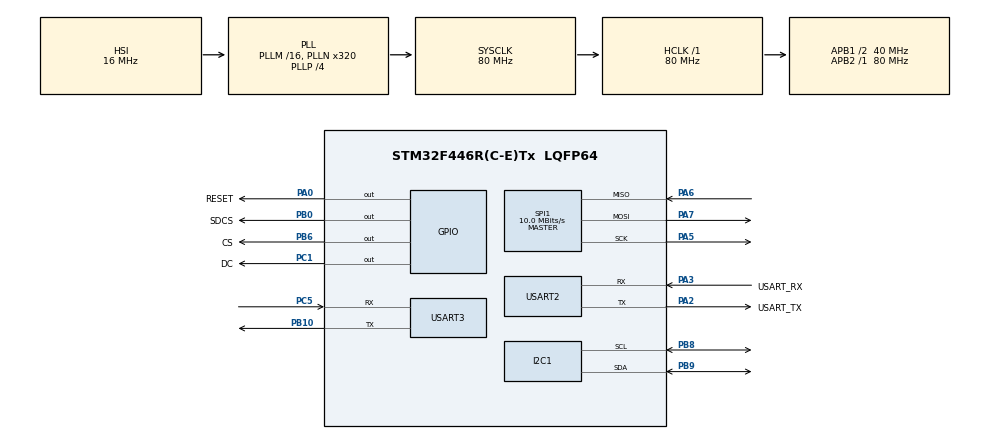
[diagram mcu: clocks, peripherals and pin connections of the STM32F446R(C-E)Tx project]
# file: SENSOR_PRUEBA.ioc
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FATFS._FS_NORTC=0
FATFS._MAX_SS=4096
FATFS._NORTC_MDAY=15
FATFS._NORTC_MON=11
FATFS._USE_LFN=1
Mcu.Family=STM32F4
Mcu.Name=STM32F446R(C-E)Tx
Mcu.Package=LQFP64
NVIC.PriorityGroup=NVIC_PRIORITYGROUP_0
NVIC.USART3_IRQn=true\:0\:0\:false\:false\:true\:true\:true\:true
PA0-WKUP.GPIO_Label=RESET
PA0-WKUP.Signal=GPIO_Output
PA13.GPIO_Label=TMS
PA13.Signal=SYS_JTMS-SWDIO
PA14.GPIO_Label=TCK
PA14.Signal=SYS_JTCK-SWCLK
PA2.GPIO_Label=USART_TX
PA2.Mode=Asynchronous
PA2.Signal=USART2_TX
PA3.GPIO_Label=USART_RX
PA3.Mode=Asynchronous
PA3.Signal=USART2_RX
PA5.Mode=Full_Duplex_Master
PA5.Signal=SPI1_SCK
PA6.GPIO_PuPd=GPIO_PULLUP
PA6.Mode=Full_Duplex_Master
PA6.Signal=SPI1_MISO
PA7.Mode=Full_Duplex_Master
PA7.Signal=SPI1_MOSI
PB0.GPIO_Label=SDCS
PB0.PinState=GPIO_PIN_SET
PB0.Signal=GPIO_Output
PB10.Mode=Asynchronous
PB10.Signal=USART3_TX
PB3.GPIO_Label=SWO
PB3.Signal=SYS_JTDO-SWO
PB6.GPIO_Label=CS
PB6.GPIO_Speed=GPIO_SPEED_FREQ_LOW
PB6.PinState=GPIO_PIN_SET
PB6.Signal=GPIO_Output
PB8.GPIO_Pu=GPIO_PULLUP
PB8.Mode=I2C
PB8.Signal=I2C1_SCL
PB9.GPIO_Pu=GPIO_PULLUP
PB9.Mode=I2C
PB9.Signal=I2C1_SDA
PC1.GPIO_Label=DC
PC1.Signal=GPIO_Output
PC14-OSC32_IN.Signal=RCC_OSC32_IN
PC15-OSC32_OUT.Signal=RCC_OSC32_OUT
PC5.Mode=Asynchronous
PC5.Signal=USART3_RX
PH0-OSC_IN.Signal=RCC_OSC_IN
PH1-OSC_OUT.Signal=RCC_OSC_OUT
ProjectManager.HeapSize=0x200
ProjectManager.StackSize=0x400
ProjectManager.TargetToolchain=STM32CubeIDE
RCC.AHBFreq_Value=80000000
RCC.APB1CLKDivider=RCC_HCLK_DIV2
RCC.APB1Freq_Value=40000000
RCC.APB1TimFreq_Value=80000000
RCC.APB2Freq_Value=80000000
RCC.APB2TimFreq_Value=80000000
RCC.CortexFreq_Value=80000000
RCC.FLatency-AdvancedSettings=FLASH_LATENCY_2
RCC.HCLKFreq_Value=80000000
RCC.HSE_VALUE=8000000
RCC.HSI_VALUE=16000000
RCC.LSE_VALUE=32768
RCC.PLLN=320
RCC.PLLP=RCC_PLLP_DIV4
RCC.SYSCLKFreq_VALUE=80000000
RCC.SYSCLKSource=RCC_SYSCLKSOURCE_PLLCLK
RCC.USBFreq_Value=160000000
RCC.VCOOutputFreq_Value=320000000
SPI1.BaudRatePrescaler=SPI_BAUDRATEPRESCALER_8
SPI1.CalculateBaudRate=10.0 MBits/s
SPI1.Direction=SPI_DIRECTION_2LINES
SPI1.Mode=SPI_MODE_MASTER
SPI1.VirtualType=VM_MASTER
USART2.VirtualMode=VM_ASYNC
USART3.VirtualMode=VM_ASYNC
VP_FATFS_VS_Generic.Mode=User_defined
board=NUCLEO-F446RE

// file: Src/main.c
/* USER CODE BEGIN Header */
/**
  ******************************************************************************
  * @file           : main.c
  * @brief          : Nucleo 2 independiente: APDS-9960, TFT y USART2
  ******************************************************************************
  * @attention
  *
  * Copyright (c) 2026 STMicroelectronics.
  * All rights reserved.
  *
  * This software is licensed under terms that can be found in the LICENSE file
  * in the root directory of this software component.
  * If no LICENSE file comes with this software, it is provided AS-IS.
  *
  ******************************************************************************
  */
/* USER CODE END Header */
#include "main.h"
#include "fatfs.h"

/* USER CODE BEGIN Includes */
#include <stdio.h>
#include <stdint.h>
#include <string.h>
#include <stdlib.h>
#include <stdarg.h>

#include "ili9341.h"
#include "lcd_pins.h"
#include "diskio.h"
#include "zelda.h"
#include "kirby.h"
#include "link.h"
#include "shadow.h"
#include "sonic.h"
#include "flechas.h"
#include "chimuelo.h"
/* USER CODE END Includes */

/* USER CODE BEGIN PTD */
typedef enum {
    G_NONE,
    G_UP,
    G_DOWN,
    G_LEFT,
    G_RIGHT
} Gesture;
typedef enum {
    APDS_IDLE,
    APDS_WAIT,
    APDS_DONE,
    APDS_TIMEOUT,
    APDS_UNCLEAR,
    APDS_OVERFLOW,
    APDS_IO_ERROR
} ApdsResult;
typedef struct {
    I2C_HandleTypeDef *bus;
    int32_t ud_delta;
    int32_t lr_delta;
    int16_t first_ud, first_lr;
    int16_t last_ud, last_lr;
    int32_t peak_ud, peak_lr;
    int32_t peak_strength;
    uint16_t saturated_count;
    uint8_t confirmations;
    Gesture candidate;
    uint16_t valid_count;
    uint32_t started;
    uint32_t last_data;
    uint32_t last_service;
    uint8_t batch[32][4];
    uint8_t batch_count;
    uint8_t active;
    uint8_t ready;
    uint8_t saw_data;
    Gesture gesture;
} Apds9960;
/* USER CODE END PTD */

/* USER CODE BEGIN PD */
#define N1_RX_TAM 32u
#define APDS_ADDR               ((uint16_t)(0x39u << 1))
#define APDS_TIMEOUT_MS         3000u
#define APDS_FIFO_PERIOD_MS     30u
#define APDS_THRESHOLD_OUT      10u
#define APDS_SENSITIVITY        35
#define APDS_FLIP_UD            0
#define APDS_FLIP_LR            0
#define APDS_REG_ENABLE         0x80u
#define APDS_REG_GCONF4         0xABu
#define APDS_REG_GFLVL          0xAEu
#define APDS_REG_GSTATUS        0xAFu
#define APDS_REG_FIFO           0xFCu
#define DIR_NONE                G_NONE
#define DIR_UP                  G_UP
#define DIR_DOWN                G_DOWN
#define DIR_LEFT                G_LEFT
#define DIR_RIGHT               G_RIGHT
#define FONDO  0x0842u
#define PANEL  0x10A4u
#define BLANCO 0xFFFFu
#define CELESTE 0x07FFu
#define VERDE  0x07E0u
#define ROJO   0xF800u
#define BORDE  0x21CEu

/* USER CODE END PD */

I2C_HandleTypeDef hi2c1;

SPI_HandleTypeDef hspi1;

UART_HandleTypeDef huart2;
UART_HandleTypeDef huart3;

/* USER CODE BEGIN PV */
static uint8_t n1Byte;
static volatile uint8_t n1Cola[N1_RX_TAM];
static volatile uint8_t n1Entrada, n1Salida, n1Error;
static volatile uint32_t n1BytesRX;
static uint32_t n1Ordenes, n1TramasTX;
static FATFS sistemaSD;
static FIL archivoSD;

static Apds9960 sensor;
static uint8_t midiendo;
static Gesture direccionEsperada;
static uint32_t inicioEstimulo;
static uint32_t semilla = 0xA341316Cu;
static struct {
    Gesture esperado, realizado;
    uint32_t tiempo;
    int32_t ud, lr;
    uint16_t muestras, saturadas;
    uint8_t correcto, valido, guardado;
} ultimoResultado;
/* USER CODE END PV */

void SystemClock_Config(void);
static void MX_GPIO_Init(void);
static void MX_I2C1_Init(void);
static void MX_USART2_UART_Init(void);
static void MX_SPI1_Init(void);
static void MX_USART3_UART_Init(void);
/* USER CODE BEGIN PFP */
static void Imprimir(const char *formato, ...);
static uint8_t DiagnosticarSensor(void);
static void EscanearBus(void);
static void IniciarPrueba(void);
static void TareaSensor(void);
static void RecibirHercules(void);
static Gesture SortearDireccion(void);
static void PantallaInicio(void);
static void PantallaEstimulo(Gesture direccion);
static void PantallaResultado(Gesture esperado, Gesture realizado, uint32_t tiempo);
static void PantallaError(const char *detalle);
static void N1_Enviar(const char *formato, ...);
static void N1_Tarea(void);
static void N1_Resultado(void);
static void DiagnosticarEnlace(void);
static FRESULT SD_Montar(void);
static void SD_MostrarError(FRESULT r);
static void SD_Probar(void);
static void SD_Verificar(void);
static FRESULT GuardarSD(void);
/* USER CODE END PFP */

/* USER CODE BEGIN 0 */
static HAL_StatusTypeDef read_bytes(
    Apds9960 *d,
    uint8_t reg,
    uint8_t *datos,
    uint16_t cantidad)
{
    HAL_StatusTypeDef r = HAL_I2C_Mem_Read(
        d->bus,
        APDS_ADDR,
        reg,
        I2C_MEMADD_SIZE_8BIT,
        datos,
        cantidad,
        40
    );
    if (r != HAL_OK)
        Imprimir("ERROR READ reg=0x%02X HAL=%d ERR=0x%08lX\r\n",
                 reg, (int)r, (unsigned long)HAL_I2C_GetError(d->bus));
    return r;
}
static HAL_StatusTypeDef write_reg(
    Apds9960 *d,
    uint8_t reg,
    uint8_t valor)
{
    HAL_StatusTypeDef r = HAL_I2C_Mem_Write(
        d->bus,
        APDS_ADDR,
        reg,
        I2C_MEMADD_SIZE_8BIT,
        &valor,
        1,
        40
    );
    if (r != HAL_OK)
        Imprimir("ERROR WRITE reg=0x%02X valor=0x%02X HAL=%d ERR=0x%08lX\r\n",
                 reg, valor, (int)r, (unsigned long)HAL_I2C_GetError(d->bus));
    return r;
}
HAL_StatusTypeDef APDS_ReadID(Apds9960 *d, uint8_t *id)
{
    return read_bytes(d, 0x92u, id, 1);
}
HAL_StatusTypeDef APDS_Stop(Apds9960 *d)
{
    d->active = 0;
    HAL_StatusTypeDef a =
        write_reg(d, APDS_REG_GCONF4, 0);
    HAL_StatusTypeDef b =
        write_reg(d, APDS_REG_ENABLE, 0x01u);
    if (a != HAL_OK || b != HAL_OK) {
        d->ready = 0;
        return HAL_ERROR;
    }
    return HAL_OK;
}
HAL_StatusTypeDef APDS_Init(
    Apds9960 *d,
    I2C_HandleTypeDef *bus)
{
    memset(d, 0, sizeof(*d));
    d->bus = bus;
    uint8_t id;
    if (APDS_ReadID(d, &id) != HAL_OK)
        return HAL_ERROR;
    if (id != 0xABu && id != 0x9Cu)
        return HAL_ERROR;
    static const uint8_t ajustes[][2] = {
        {APDS_REG_ENABLE, 0},
        {0x81, 219},
        {0x83, 0xFF},
        {0x8E, 0x89},
        {0x9D, 0},
        {0x9E, 0},
        {0x8D, 0x60},
        {0x8F, 0x09},
        {0x90, 0x31},
        {0x9F, 0},
        {0xA0, 40},
        {0xA1, 30},
        {0xA2, 0x40},
        {0xA3, 0x41},
        {0xA4, 0},
        {0xA5, 0},
        {0xA7, 0},
        {0xA9, 0},
        {0xA6, 0xC9},
        {0xAA, 0},
        {APDS_REG_GCONF4, 0},
        {APDS_REG_ENABLE, 1}
    };
    for (unsigned i = 0;
         i < sizeof(ajustes) / sizeof(ajustes[0]);
         i++) {
        if (write_reg(
                d,
                ajustes[i][0],
                ajustes[i][1]) != HAL_OK) {
            (void)APDS_Stop(d);
            return HAL_ERROR;
        }
    }
    HAL_Delay(3);
    d->ready = 1;
    return HAL_OK;
}
HAL_StatusTypeDef APDS_Start(Apds9960 *d)
{
    if (!d->ready || d->active)
        return HAL_ERROR;
    if (APDS_Stop(d) != HAL_OK ||
        write_reg(d, APDS_REG_ENABLE, 0) != HAL_OK)
        return HAL_ERROR;
    HAL_Delay(3);
    /* Limpiar FIFO y datos anteriores. */
    if (write_reg(d, APDS_REG_GCONF4, 0x04u) != HAL_OK ||
        write_reg(d, APDS_REG_GCONF4, 0) != HAL_OK)
        return HAL_ERROR;
    d->peak_ud = d->peak_lr = 0;
    d->peak_strength = 0;
    d->saturated_count = 0;
    d->confirmations = 0;
    d->candidate = DIR_NONE;
    d->ud_delta = 0;
    d->lr_delta = 0;
    d->first_ud = d->first_lr = 0;
    d->last_ud = d->last_lr = 0;
    d->valid_count = 0;
    d->batch_count = 0;
    d->gesture = DIR_NONE;
    d->saw_data = 0;
    if (write_reg(d, APDS_REG_ENABLE, 1) != HAL_OK)
        return HAL_ERROR;
    HAL_Delay(3);
    /*
     * GIEN = 0: no requiere interrupcion INT.
     * GMODE = 1.
     * ENABLE: PON + WEN + PEN + GEN.
     */
    if (write_reg(d, APDS_REG_GCONF4, 0x01u) != HAL_OK ||
        write_reg(d, APDS_REG_ENABLE, 0x4Du) != HAL_OK) {
        (void)APDS_Stop(d);
        return HAL_ERROR;
    }
    d->started = HAL_GetTick();
    d->last_data = d->started;
    d->last_service =
        d->started - APDS_FIFO_PERIOD_MS;
    d->active = 1;
    return HAL_OK;
}
static int valid_sample(const uint8_t muestra[4])
{
    return muestra[0] > APDS_THRESHOLD_OUT &&
           muestra[1] > APDS_THRESHOLD_OUT &&
           muestra[2] > APDS_THRESHOLD_OUT &&
           muestra[3] > APDS_THRESHOLD_OUT;
}
/* La direccion requiere un eje dominante y dos muestras consecutivas. */
static Gesture classify_delta(int32_t ud, int32_t lr)
{
    if (APDS_FLIP_UD) ud = -ud;
    if (APDS_FLIP_LR) lr = -lr;

    int32_t au = labs(ud);
    int32_t al = labs(lr);

    if (au >= APDS_SENSITIVITY && au * 4 > al * 5)
        return ud > 0 ? DIR_DOWN : DIR_UP;

    if (al >= APDS_SENSITIVITY && al * 4 > au * 5)
        return lr > 0 ? DIR_RIGHT : DIR_LEFT;

    return DIR_NONE;
}

static void process_batch(Apds9960 *d)
{
    static uint32_t ultimoReporte;
    for (unsigned i = 0; i < d->batch_count; i++)
    {
        const uint8_t *m = d->batch[i];
        if (!valid_sample(m))
        {
            d->candidate = DIR_NONE;
            d->confirmations = 0;
            continue;
        }

        /* Una muestra recortada no permite comparar bien los canales. */
        if (m[0] == 255u || m[1] == 255u ||
            m[2] == 255u || m[3] == 255u)
        {
            if (d->saturated_count < 65535u) d->saturated_count++;
            d->confirmations = 0;
            d->candidate = DIR_NONE;
            continue;
        }

        int ud = 100 * ((int)m[0] - (int)m[1]) /
                       ((int)m[0] + (int)m[1]);
        int lr = 100 * ((int)m[2] - (int)m[3]) /
                       ((int)m[2] + (int)m[3]);
        if (d->valid_count == 0)
        {
            d->first_ud = (int16_t)ud;
            d->first_lr = (int16_t)lr;
        }
        d->last_ud = (int16_t)ud;
        d->last_lr = (int16_t)lr;
        if (d->valid_count < 65535u) d->valid_count++;
        d->ud_delta = (int32_t)d->last_ud - d->first_ud;
        d->lr_delta = (int32_t)d->last_lr - d->first_lr;

        Gesture g = classify_delta(d->ud_delta, d->lr_delta);
        if (g == DIR_NONE)
        {
            d->candidate = DIR_NONE;
            d->confirmations = 0;
            continue;
        }
        if (g == d->candidate)
        {
            if (d->confirmations < 255u) d->confirmations++;
        }
        else
        {
            d->candidate = g;
            d->confirmations = 1;
        }

        int32_t strength = labs(d->ud_delta);
        if (labs(d->lr_delta) > strength) strength = labs(d->lr_delta);
        if (d->confirmations >= 2u && strength > d->peak_strength)
        {
            d->peak_strength = strength;
            d->peak_ud = d->ud_delta;
            d->peak_lr = d->lr_delta;
        }
    }

    uint32_t ahora = HAL_GetTick();
    if (d->batch_count && (uint32_t)(ahora - ultimoReporte) >= 150u)
    {
        const uint8_t *m = d->batch[d->batch_count - 1u];
        Imprimir("RAW U=%u D=%u L=%u R=%u | UD=%ld LR=%ld N=%u SAT=%u\r\n",
                 (unsigned)m[0], (unsigned)m[1],
                 (unsigned)m[2], (unsigned)m[3],
                 (long)d->ud_delta, (long)d->lr_delta,
                 (unsigned)d->valid_count, (unsigned)d->saturated_count);
        ultimoReporte = ahora;
    }
    d->batch_count = 0;
}

static Gesture decode_gesture(const Apds9960 *d)
{
    if (d->valid_count < 5u || !d->peak_strength) return DIR_NONE;
    return classify_delta(d->peak_ud, d->peak_lr);
}

static ApdsResult finish(
    Apds9960 *d,
    ApdsResult resultado)
{
    return APDS_Stop(d) == HAL_OK
           ? resultado
           : APDS_IO_ERROR;
}
ApdsResult APDS_Poll(Apds9960 *d)
{
    if (!d->active)
        return APDS_IDLE;
    uint32_t ahora = HAL_GetTick();
    if ((uint32_t)(ahora - d->started) >= APDS_TIMEOUT_MS)
    {
        d->ud_delta = (int32_t)d->last_ud - d->first_ud;
        d->lr_delta = (int32_t)d->last_lr - d->first_lr;

        Imprimir("CIERRE POR TIEMPO: UD %d->%d, LR %d->%d\r\n",
                 (int)d->first_ud, (int)d->last_ud,
                 (int)d->first_lr, (int)d->last_lr);

        if (d->valid_count < 5u)
            return finish(d, APDS_TIMEOUT);

        /* Aunque no haya salido del modo de gestos, evaluar lo recibido. */
        d->gesture = decode_gesture(d);
        return finish(d, d->gesture == DIR_NONE
                         ? APDS_UNCLEAR : APDS_DONE);
    }
    if ((uint32_t)(ahora - d->last_service) <
        APDS_FIFO_PERIOD_MS)
        return APDS_WAIT;
    d->last_service = ahora;
    uint8_t estado;
    uint8_t nivel;
    uint8_t modo;
    uint8_t datos[128];
    if (read_bytes(
            d, APDS_REG_GSTATUS, &estado, 1) != HAL_OK ||
        read_bytes(
            d, APDS_REG_GFLVL, &nivel, 1) != HAL_OK) {
        return finish(d, APDS_IO_ERROR);
    }
    if ((estado & 0x02u) || nivel > 32u)
        return finish(d, APDS_OVERFLOW);
    if (nivel) {
        if (read_bytes(
                d,
                APDS_REG_FIFO,
                datos,
                (uint16_t)(nivel * 4u)) != HAL_OK) {
            return finish(d, APDS_IO_ERROR);
        }
        for (unsigned i = 0; i < nivel; i++) {
            memcpy(
                d->batch[d->batch_count++],
                &datos[i * 4u],
                4
            );
            if (d->batch_count == 32u)
                process_batch(d);
        }
        process_batch(d);
        d->saw_data = 1;
        d->last_data = HAL_GetTick();

        /* Terminar en cuanto el algoritmo confirme una direccion. */
        Gesture detectado = decode_gesture(d);

        if (detectado != DIR_NONE)
        {
            d->gesture = detectado;
            return finish(d, APDS_DONE);
        }
    }
    if (read_bytes(
            d, APDS_REG_GCONF4, &modo, 1) != HAL_OK)
        return finish(d, APDS_IO_ERROR);
    ahora = HAL_GetTick();
    if (!nivel &&
        decode_gesture(d) != DIR_NONE &&
        d->saw_data &&
        !(estado & 1u) &&
        !(modo & 1u) &&
        (uint32_t)(ahora - d->last_data) >=
            APDS_FIFO_PERIOD_MS) {
        d->ud_delta = (int32_t)d->last_ud - d->first_ud;
        d->lr_delta = (int32_t)d->last_lr - d->first_lr;
        d->gesture = decode_gesture(d);
        return finish(
            d,
            d->gesture == DIR_NONE
                ? APDS_UNCLEAR
                : APDS_DONE
        );
    }
    return APDS_WAIT;
}
const char *Gesture_Name(Gesture gesto)
{
    switch (gesto) {
    case DIR_UP:
        return "ARRIBA";
    case DIR_DOWN:
        return "ABAJO";
    case DIR_LEFT:
        return "IZQUIERDA";
    case DIR_RIGHT:
        return "DERECHA";
    default:
        return "SIN DATOS";
    }
}

/* Graficos de la TFT. Las imagenes permanecen en sus archivos .h. */
static void Centrar(const char *texto, int y, int fuente,
                    uint16_t color, uint16_t fondo)
{
    int ancho = fuente == 1 ? 8 : 16;
    int x = (320 - (int)strlen(texto) * ancho) / 2;
    if (x < 0) x = 0;
    LCD_Print((char *)texto, x, y, fuente, color, fondo);
}

static void Cabecera(const char *texto, uint16_t color)
{
    LCD_Clear(FONDO);
    FillRect(0, 0, 320, 34, color);
    Centrar(texto, 10, 2, BLANCO, color);
}

static void Pie(const char *texto)
{
    FillRect(0, 220, 320, 20, FONDO);
    Centrar(texto, 224, 1, BLANCO, FONDO);
}

static void DibujarPersonaje(Gesture g, uint16_t centro, uint16_t y)
{
    const uint16_t *imagen;
    uint16_t w, h, transparente;
    switch (g)
    {
    case G_UP:
        imagen = link; w = link_width; h = link_height;
        transparente = LINK_TRANSPARENTE;
        break;
    case G_DOWN:
        imagen = sonic; w = sonic_width; h = sonic_height;
        transparente = SONIC_TRANSPARENTE;
        break;
    case G_LEFT:
        imagen = shadow; w = shadow_width; h = shadow_height;
        transparente = SHADOW_TRANSPARENTE;
        break;
    case G_RIGHT:
        imagen = kirby; w = kirby_width; h = kirby_height;
        transparente = KIRBY_TRANSPARENTE;
        break;
    default:
        return;
    }
    LCD_BitmapTransparent(centro - w / 2u, y, w, h, imagen, transparente);
}

static void DibujarFlecha(Gesture g, uint16_t x, uint16_t y,
                          uint16_t color)
{
    const uint16_t *imagen;
    switch (g)
    {
    case G_UP:    imagen = imagen_ARRIBA; break;
    case G_DOWN:  imagen = imagen_ABAJO; break;
    case G_LEFT:  imagen = imagen_IZQUIERDA; break;
    case G_RIGHT: imagen = imagen_DERECHA; break;
    default: return;
    }

    /* Ampliacion de 48x48 a 96x96 con transparencia. */
    uint16_t fila[96];
    for (unsigned fy = 0; fy < 48u; fy++)
    {
        for (unsigned fx = 0; fx < 48u; fx++)
        {
            uint16_t pixel = imagen[fy * 48u + fx];
            if (pixel != FLECHA_TRANSPARENTE) pixel = color;
            fila[fx * 2u] = pixel;
            fila[fx * 2u + 1u] = pixel;
        }
        for (unsigned k = 0; k < 2u; k++)
        {
            LCD_BitmapTransparent(x, y + fy * 2u + k, 96, 1,
                                  fila, FLECHA_TRANSPARENTE);
        }
    }
}

static void PantallaInicio(void)
{
    LCD_Bitmap(0, 0, zelda_width, zelda_height, zelda);
    Centrar("ESPERANDO DATOS", 10, 2, BLANCO, FONDO);
    Pie("ESPERANDO ORDEN DE NUCLEO 1");
}

static void PantallaEstimulo(Gesture direccion)
{
    Cabecera("SIGUE LA DIRECCION", 0x0193u);
    FillRect(12, 42, 296, 165, PANEL);
    Rect(12, 42, 296, 165, BORDE);

    if (direccion == G_RIGHT)
    {
        /* Kirby ya contiene su flecha. */
        DibujarPersonaje(direccion, 160, 51);
    }
    else
    {
        DibujarPersonaje(direccion, 84, 51);
        DibujarFlecha(direccion, 188, 63, CELESTE);
    }
    Centrar(Gesture_Name(direccion), 186, 1, CELESTE, PANEL);
    Pie("HAZ UN SOLO MOVIMIENTO");
}

static void PantallaResultado(Gesture esperado, Gesture realizado,
                              uint32_t tiempo)
{
    char texto[32];
    snprintf(texto, sizeof(texto), "%lu.%03lu S",
             (unsigned long)(tiempo / 1000u),
             (unsigned long)(tiempo % 1000u));

    if (realizado == G_NONE)
    {
        const uint16_t claro = 0xDFFFu;
        Cabecera("SIN GESTO", 0xA800u);
        FillRect(0, 40, 320, 177, claro);
        Centrar("MOVIMIENTO NO RECONOCIDO", 43, 1, 0x0000u, claro);
        LCD_BitmapTransparent(40, 63, chimuelo_width, chimuelo_height,
                              chimuelo, CHIMUELO_TRANSPARENTE);
        Centrar(texto, 201, 1, 0x0000u, claro);
    }
    else
    {
        uint8_t correcto = esperado == realizado;
        uint16_t color = correcto ? VERDE : ROJO;
        Cabecera(correcto ? "CORRECTO" : "INCORRECTO",
                  correcto ? 0x03A0u : 0xA800u);
        FillRect(12, 42, 136, 174, PANEL);
        Rect(12, 42, 136, 174, BORDE);
        DibujarPersonaje(esperado, 80, 51);
        LCD_Print((char *)Gesture_Name(esperado),
                  80 - (int)strlen(Gesture_Name(esperado)) * 4,
                  190, 1, CELESTE, PANEL);
        LCD_Print("TIEMPO DE RESPUESTA", 160, 46, 1, BLANCO, FONDO);
        LCD_Print(texto, 166, 66, 2, color, FONDO);
        LCD_Print("SOLICITADO", 166, 106, 1, BLANCO, FONDO);
        LCD_Print((char *)Gesture_Name(esperado), 166, 124, 1, CELESTE, FONDO);
        LCD_Print("REALIZADO", 166, 156, 1, BLANCO, FONDO);
        LCD_Print((char *)Gesture_Name(realizado), 166, 174, 1, color, FONDO);
    }
    Pie("ESPERANDO ORDEN DE NUCLEO 1");
}

static void PantallaError(const char *detalle)
{
    Cabecera("ERROR SENSOR", 0xA800u);
    Centrar(detalle, 90, 1, BLANCO, FONDO);
    Centrar("REVISA SENSOR Y CONEXIONES", 120, 1, CELESTE, FONDO);
    Pie("REINTENTA DESDE NUCLEO 1");
}

static Gesture SortearDireccion(void)
{
    semilla ^= HAL_GetTick();
    if (!semilla) semilla = 0xA341316Cu;
    semilla ^= semilla << 13;
    semilla ^= semilla >> 17;
    semilla ^= semilla << 5;
    return (Gesture)(G_UP + (semilla & 3u));
}

static void N1_Enviar(const char *formato, ...)
{
    char trama[160];
    va_list args;
    va_start(args, formato);
    int n = vsnprintf(trama, sizeof(trama), formato, args);
    va_end(args);
    if (n <= 0 || n >= (int)sizeof(trama)) {
        Imprimir("ERROR: trama UART3 demasiado larga.\r\n");
        return;
    }
    if (HAL_UART_Transmit(&huart3, (uint8_t *)trama,
                          (uint16_t)n, 250) != HAL_OK) {
        Imprimir("ERROR TX UART3 hacia Nucleo 1.\r\n");
        return;
    }
    n1TramasTX++;
    if (trama[n - 1] == '\n') trama[n - 1] = 0;
    Imprimir("N2 -> N1: %s\r\n", trama);
}

static void N1_Resultado(void)
{
    N1_Enviar("@RESULT,%u,%ld,%ld,%lu,%s,%s,%u\n",
              (unsigned)ultimoResultado.muestras,
              (long)ultimoResultado.ud,
              (long)ultimoResultado.lr,
              (unsigned long)ultimoResultado.tiempo,
              Gesture_Name(ultimoResultado.esperado),
              ultimoResultado.realizado == G_NONE ? "NO_RECONOCIDO"
                  : Gesture_Name(ultimoResultado.realizado),
              (unsigned)ultimoResultado.correcto);
}

static void N1_Tarea(void)
{
    if (n1Error)
    {
        (void)HAL_UART_AbortReceive(&huart3);
        __HAL_UART_CLEAR_OREFLAG(&huart3);
        n1Entrada = n1Salida = 0;
        n1Error = 0;
        if (HAL_UART_Receive_IT(&huart3, &n1Byte, 1) != HAL_OK)
            n1Error = 1;
        Imprimir("ERROR RX USART3: reenvia la orden desde Nucleo 1.\r\n");
        N1_Enviar("@ERROR,UART_RX\n");
        return;
    }

    if (n1Salida == n1Entrada) return;
    uint8_t dato = n1Cola[n1Salida];
    n1Salida = (uint8_t)((n1Salida + 1u) % N1_RX_TAM);
    if (dato == '\r' || dato == '\n' || dato == ' ' || dato == '\t') return;

    Imprimir("N1 -> N2: %c recibido.\r\n", dato);
    if (dato == 'L' || dato == 'l' || dato == 'G' || dato == 'g') {
        n1Ordenes++;
        Imprimir("ENLACE RX CONFIRMADO: orden recibida desde Nucleo 1.\r\n");
    }
    if (midiendo)
    {
        N1_Enviar("@BUSY\n");
        return;
    }

    switch (dato) {
    case 'L':
    case 'l':
        IniciarPrueba();
        break;
    case 'G':
    case 'g':
        if (!ultimoResultado.valido) {
            Pie("SIN MEDICION PARA GUARDAR");
            N1_Enviar("@SAVE,NO_DATA\n");
        } else {
            FRESULT r = GuardarSD();
            if (r == FR_OK) N1_Enviar("@SAVE,OK\n");
            else N1_Enviar("@ERROR,SD_FATFS_%u\n", (unsigned)r);
        }
        break;
    default:
        N1_Enviar("@ERROR,COMANDO\n");
        break;
    }
}

static void DiagnosticarEnlace(void)
{
    uint32_t modoTX = (GPIOB->MODER >> 20u) & 3u;
    uint32_t afTX = (GPIOB->AFR[1] >> 8u) & 15u;
    uint32_t modoRX = (GPIOC->MODER >> 10u) & 3u;
    uint32_t afRX = (GPIOC->AFR[0] >> 20u) & 15u;
    uint32_t irq = NVIC_GetEnableIRQ(USART3_IRQn);
    Imprimir("\r\n--- DIAGNOSTICO ENLACE NUCLEO 1 ---\r\n");
    Imprimir("USART3: PB10=TX, PC5=RX, 115200 8N1.\r\n");
    Imprimir("GPIO TX PB10: modo=%lu AF=%lu | RX PC5: modo=%lu AF=%lu\r\n",
             (unsigned long)modoTX, (unsigned long)afTX,
             (unsigned long)modoRX, (unsigned long)afRX);
    Imprimir("NVIC USART3=%lu | RX armada=%u\r\n",
             (unsigned long)irq,
             (unsigned)(huart3.RxState == HAL_UART_STATE_BUSY_RX));
    Imprimir("RX bytes=%lu | Ordenes L/G=%lu | TX tramas=%lu\r\n",
             (unsigned long)n1BytesRX, (unsigned long)n1Ordenes,
             (unsigned long)n1TramasTX);
    if (modoTX != 2u || afTX != 7u || modoRX != 2u || afRX != 7u || !irq)
        Imprimir("ERROR CONFIG: genera MX con USART3 PB10/PC5 AF7 e interrupcion habilitada.\r\n");
    else
        Imprimir("CONFIG USART3 OK: pines AF7 e interrupcion habilitada.\r\n");
    if (!n1Ordenes)
        Imprimir("Sin ordenes recibidas aun. Envia L desde Bluetooth hacia Nucleo 1.\r\n");
    else
        Imprimir("RX CONFIRMADO: Nucleo 2 recibio ordenes de Nucleo 1.\r\n");
    Imprimir("TX OK confirma salida del STM32; el programa de Nucleo 1 no devuelve ACK.\r\n");
}

static void Imprimir(const char *formato, ...)
{
    char texto[192];
    va_list argumentos;
    va_start(argumentos, formato);
    int n = vsnprintf(texto, sizeof(texto), formato, argumentos);
    va_end(argumentos);
    if (n <= 0) return;
    if (n >= (int)sizeof(texto)) n = sizeof(texto) - 1;
    (void)HAL_UART_Transmit(&huart2, (uint8_t *)texto, (uint16_t)n, 250);
}

static uint8_t DiagnosticarSensor(void)
{
    Imprimir("\r\n--- DIAGNOSTICO APDS-9960 ---\r\n");
    Imprimir("SCL(PB8)=%u SDA(PB9)=%u\r\n",
             (unsigned)HAL_GPIO_ReadPin(GPIOB, GPIO_PIN_8),
             (unsigned)HAL_GPIO_ReadPin(GPIOB, GPIO_PIN_9));

    HAL_StatusTypeDef r = HAL_I2C_IsDeviceReady(&hi2c1, APDS_ADDR, 3, 100);
    uint32_t error = HAL_I2C_GetError(&hi2c1);
    Imprimir("READY 0x39: HAL=%d ERR=0x%08lX\r\n", (int)r, (unsigned long)error);
    if (r != HAL_OK) {
        Imprimir("FALLO: no se confirmo respuesta en 0x39.\r\n");
        return 0;
    }

    sensor.bus = &hi2c1;
    uint8_t id = 0;
    r = APDS_ReadID(&sensor, &id);
    error = HAL_I2C_GetError(&hi2c1);
    Imprimir("ID registro 0x92: HAL=%d ID=0x%02X ERR=0x%08lX\r\n",
             (int)r, (unsigned)id, (unsigned long)error);
    if (r != HAL_OK) return 0;
    if (id != 0xABu && id != 0x9Cu) {
        Imprimir("Hay respuesta I2C, pero el ID no es uno de los aceptados.\r\n");
        return 0;
    }
    Imprimir("OK: comunicacion I2C e identificador reconocidos.\r\n");
    return 1;
}

static void EscanearBus(void)
{
    if (!HAL_GPIO_ReadPin(GPIOB, GPIO_PIN_8) ||
        !HAL_GPIO_ReadPin(GPIOB, GPIO_PIN_9)) {
        Imprimir("No escaneo: SCL o SDA esta baja en reposo. Revisa el bus.\r\n");
        return;
    }
    Imprimir("\r\nEscaneando direcciones I2C de 0x08 a 0x77...\r\n");
    unsigned encontrados = 0;
    for (uint16_t direccion = 0x08; direccion <= 0x77; direccion++) {
        HAL_StatusTypeDef r = HAL_I2C_IsDeviceReady(&hi2c1, direccion << 1, 1, 10);
        uint32_t error = HAL_I2C_GetError(&hi2c1);
        if (r == HAL_OK) {
            Imprimir("Responde: 0x%02X%s\r\n", (unsigned)direccion,
                     direccion == 0x39 ? " (direccion del APDS-9960)" : "");
            encontrados++;
        } else if (r == HAL_BUSY || r == HAL_TIMEOUT ||
                   (error & HAL_I2C_ERROR_TIMEOUT)) {
            Imprimir("Escaneo detenido: HAL=%d ERR=0x%08lX\r\n",
                     (int)r, (unsigned long)error);
            return;
        }
    }
    Imprimir("Fin del escaneo. Dispositivos encontrados: %u\r\n", encontrados);
}

/* SD: acceso exclusivo desde el ciclo principal, nunca desde una ISR. */
static FRESULT SD_Montar(void)
{
    (void)f_mount(NULL, "0:", 0);
    DSTATUS antes = disk_status(0);
    DSTATUS inicio = disk_initialize(0);
    DSTATUS despues = disk_status(0);
    Imprimir("SD ESTADO: antes=0x%02X init=0x%02X despues=0x%02X\r\n",
             (unsigned)antes, (unsigned)inicio, (unsigned)despues);
    if (inicio & STA_NOINIT) return FR_NOT_READY;
    return f_mount(&sistemaSD, "0:", 1);
}

static void SD_MostrarError(FRESULT r)
{
    Pie("ERROR SD: REVISA HERCULES");
    Imprimir("ERROR SD FatFs=%u\r\n", (unsigned)r);
    if (r == FR_NOT_READY)
        Imprimir("La inicializacion SPI de la SD no termino. Revisa SDDBG CMD0/CMD8.\r\n");
    else if (r == FR_NO_FILESYSTEM)
        Imprimir("La tarjeta responde, pero no se encontro un sistema FAT valido.\r\n");
    else if (r == FR_DISK_ERR)
        Imprimir("Fallo de lectura, escritura o verificacion de la tarjeta.\r\n");
    Imprimir("No se confirmo guardado. El enlace y el sensor siguen disponibles.\r\n");
}

static void SD_Probar(void)
{
    Imprimir("\r\n--- PRUEBA SD: INICIO Y MONTAJE, SIN ESCRIBIR ---\r\n");
    FRESULT r = SD_Montar();
    if (r != FR_OK) { SD_MostrarError(r); return; }
    DWORD sectores = 0;
    if (disk_ioctl(0, GET_SECTOR_COUNT, &sectores) != RES_OK)
    {
        SD_MostrarError(FR_DISK_ERR);
        return;
    }
    Imprimir("SD OK: montaje FAT correcto; dispositivo de %lu MiB (%lu sectores).\r\n",
             (unsigned long)(sectores / 2048u), (unsigned long)sectores);
    Imprimir("No se escribio ningun archivo. V prueba escritura y lectura.\r\n");
    Pie("SD MONTADA - V PARA VERIFICAR");
}

static FRESULT SD_Escribir(const char *texto)
{
    UINT escritos = 0;
    UINT longitud = (UINT)strlen(texto);
    FRESULT r = f_write(&archivoSD, texto, longitud, &escritos);
    return r == FR_OK && escritos != longitud ? FR_DISK_ERR : r;
}

/* Solo intenta retirar los bytes agregados durante una operacion fallida. */
static void SD_RetirarParcial(DWORD tamAnterior)
{
    FRESULT r = f_lseek(&archivoSD, tamAnterior);
    if (r == FR_OK) r = f_truncate(&archivoSD);
    if (r != FR_OK)
        Imprimir("AVISO: no se pudo retirar una escritura parcial.\r\n");
}

static FRESULT GuardarSD(void)
{
    if (ultimoResultado.guardado)
    {
        Pie("DATOS YA GUARDADOS");
        Imprimir("SD: esta medicion ya se guardo; no se repite la fila.\r\n");
        return FR_OK;
    }

    Imprimir("SD: guardando medicion en 0:/GESTOS.CSV...\r\n");
    FRESULT r = SD_Montar();
    if (r != FR_OK) { SD_MostrarError(r); return r; }
    r = f_open(&archivoSD, "0:/GESTOS.CSV", FA_OPEN_ALWAYS | FA_WRITE);
    if (r != FR_OK) { SD_MostrarError(r); return r; }

    DWORD tamAnterior = (DWORD)f_size(&archivoSD);
    uint8_t intentoEscritura = 0;
    r = f_lseek(&archivoSD, tamAnterior);
    if (r == FR_OK && tamAnterior == 0u)
    {
        intentoEscritura = 1;
        r = SD_Escribir("solicitado,realizado,tiempo_ms,correcto,muestras,ud_pico,lr_pico,saturadas\r\n");
    }
    if (r == FR_OK)
    {
        char fila[160];
        int n = snprintf(fila, sizeof(fila), "%s,%s,%lu,%u,%u,%ld,%ld,%u\r\n",
                         Gesture_Name(ultimoResultado.esperado),
                         ultimoResultado.realizado == G_NONE ? "NO_RECONOCIDO"
                             : Gesture_Name(ultimoResultado.realizado),
                         (unsigned long)ultimoResultado.tiempo,
                         (unsigned)ultimoResultado.correcto,
                         (unsigned)ultimoResultado.muestras,
                         (long)ultimoResultado.ud, (long)ultimoResultado.lr,
                         (unsigned)ultimoResultado.saturadas);
        if (n < 0 || n >= (int)sizeof(fila)) r = FR_INVALID_PARAMETER;
        else { intentoEscritura = 1; r = SD_Escribir(fila); }
    }
    if (r != FR_OK && intentoEscritura) SD_RetirarParcial(tamAnterior);
    FRESULT cierre = f_close(&archivoSD);
    if (r == FR_OK) r = cierre;
    if (r != FR_OK)
    {
        if (cierre != FR_OK)
            Imprimir("Fallo al cerrar: el contenido escrito queda sin confirmar.\r\n");
        SD_MostrarError(r);
        return r;
    }

    ultimoResultado.guardado = 1;
    Pie("DATOS GUARDADOS");
    Imprimir("SD OK: DATOS GUARDADOS en GESTOS.CSV; cierre correcto.\r\n");
    return FR_OK;
}

static void SD_Verificar(void)
{
    Imprimir("\r\n--- PRUEBA SD: AGREGA Y RELEE UNA LINEA EN N2TEST.LOG ---\r\n");
    FRESULT r = SD_Montar();
    if (r != FR_OK) { SD_MostrarError(r); return; }

    char linea[64], leido[64];
    int n = snprintf(linea, sizeof(linea), "NUCLEO2,PRUEBA_SD,%lu\r\n",
                     (unsigned long)HAL_GetTick());
    if (n <= 0 || n >= (int)sizeof(linea))
    { SD_MostrarError(FR_INVALID_PARAMETER); return; }

    r = f_open(&archivoSD, "0:/N2TEST.LOG", FA_OPEN_ALWAYS | FA_WRITE);
    if (r != FR_OK) { SD_MostrarError(r); return; }
    DWORD posicion = (DWORD)f_size(&archivoSD);
    uint8_t intento = 0;
    r = f_lseek(&archivoSD, posicion);
    if (r == FR_OK) { intento = 1; r = SD_Escribir(linea); }
    if (r != FR_OK && intento) SD_RetirarParcial(posicion);
    FRESULT cierre = f_close(&archivoSD);
    if (r == FR_OK) r = cierre;
    if (r != FR_OK) { SD_MostrarError(r); return; }

    /* Remontar invalida la ventana de cache del sistema antes de releer. */
    r = SD_Montar();
    if (r != FR_OK) { SD_MostrarError(r); return; }
    r = f_open(&archivoSD, "0:/N2TEST.LOG", FA_READ);
    if (r != FR_OK) { SD_MostrarError(r); return; }
    r = f_lseek(&archivoSD, posicion);
    UINT cantidad = 0;
    if (r == FR_OK) r = f_read(&archivoSD, leido, (UINT)n, &cantidad);
    cierre = f_close(&archivoSD);
    if (r == FR_OK) r = cierre;
    if (r == FR_OK && (cantidad != (UINT)n || memcmp(linea, leido, (size_t)n)))
        r = FR_DISK_ERR;
    if (r != FR_OK) { SD_MostrarError(r); return; }

    Pie("SD ESCRITURA Y LECTURA OK");
    Imprimir("SD VERIFICADA: linea escrita, archivo cerrado y lectura identica.\r\n");
    Imprimir("Archivo: 0:/N2TEST.LOG. Esta prueba no guarda una medicion.\r\n");
}

static void IniciarPrueba(void)
{
    ultimoResultado.valido = 0;
    ultimoResultado.guardado = 0;
    if (!DiagnosticarSensor())
    {
        PantallaError("SIN RESPUESTA I2C");
        N1_Enviar("@ERROR,SENSOR\n");
        return;
    }
    if (APDS_Init(&sensor, &hi2c1) != HAL_OK)
    {
        Imprimir("FALLO: no se pudo configurar APDS-9960.\r\n");
        PantallaError("NO SE PUDO CONFIGURAR");
        N1_Enviar("@ERROR,SENSOR\n");
        return;
    }

    direccionEsperada = SortearDireccion();
    PantallaEstimulo(direccionEsperada);
    inicioEstimulo = HAL_GetTick();

    if (APDS_Start(&sensor) != HAL_OK)
    {
        Imprimir("FALLO: no se pudo armar la deteccion de gestos.\r\n");
        PantallaError("NO SE PUDO ARMAR");
        N1_Enviar("@ERROR,SENSOR\n");
        return;
    }
    midiendo = 1;
    N1_Enviar("@START\n");
    Imprimir("SOLICITADO: %s\r\n", Gesture_Name(direccionEsperada));
    Imprimir("SENSOR ACTIVO: haz un gesto ahora; tienes 3 segundos.\r\n");
}

static void TareaSensor(void)
{
    if (!midiendo) return;
    ApdsResult r = APDS_Poll(&sensor);
    if (r == APDS_WAIT) return;

    uint32_t tiempo = HAL_GetTick() - inicioEstimulo;
    midiendo = 0;
    Imprimir("Muestras=%u UD=%ld LR=%ld\r\n", (unsigned)sensor.valid_count,
             (long)sensor.ud_delta, (long)sensor.lr_delta);
    Imprimir("PICO UD=%ld LR=%ld SAT=%u\r\n",
             (long)sensor.peak_ud, (long)sensor.peak_lr,
             (unsigned)sensor.saturated_count);

    ultimoResultado.valido = 0;
    if (r == APDS_DONE || r == APDS_TIMEOUT || r == APDS_UNCLEAR)
    {
        ultimoResultado.esperado = direccionEsperada;
        ultimoResultado.realizado = r == APDS_DONE ? sensor.gesture : G_NONE;
        ultimoResultado.tiempo = tiempo;
        ultimoResultado.correcto = r == APDS_DONE && sensor.gesture == direccionEsperada;
        ultimoResultado.muestras = sensor.valid_count;
        ultimoResultado.saturadas = sensor.saturated_count;
        ultimoResultado.ud = sensor.peak_ud;
        ultimoResultado.lr = sensor.peak_lr;
        ultimoResultado.valido = 1;
        ultimoResultado.guardado = 0;
    }
    if (ultimoResultado.valido)
        N1_Resultado();
    else
        N1_Enviar(r == APDS_OVERFLOW ? "@ERROR,FIFO_LLENO\n"
                                   : "@ERROR,LECTURA_I2C\n");

    if (r == APDS_DONE)
    {
        Imprimir("GESTO DETECTADO: %s\r\n", Gesture_Name(sensor.gesture));
        Imprimir("%s | Tiempo de respuesta: %lu ms\r\n",
                 sensor.gesture == direccionEsperada ? "CORRECTO" : "INCORRECTO",
                 (unsigned long)tiempo);
        PantallaResultado(direccionEsperada, sensor.gesture, tiempo);
    }
    else if (r == APDS_TIMEOUT || r == APDS_UNCLEAR)
    {
        Imprimir(r == APDS_TIMEOUT
                 ? "SIN GESTO: faltan muestras utiles al terminar el tiempo.\r\n"
                 : "MOVIMIENTO NO RECONOCIDO: direccion ambigua.\r\n");
        PantallaResultado(direccionEsperada, G_NONE, tiempo);
    }
    else
    {
        Imprimir("FALLO: %s\r\n", r == APDS_OVERFLOW ? "FIFO LLENO" : "ERROR I2C");
        PantallaError(r == APDS_OVERFLOW ? "FIFO LLENO" : "ERROR I2C");
    }
    Imprimir("Medicion terminada. Esperando orden de Nucleo 1.\r\n");
}

static void RecibirHercules(void)
{
    uint8_t dato;
    HAL_StatusTypeDef r = HAL_UART_Receive(&huart2, &dato, 1, 1);
    if (r == HAL_TIMEOUT) return;
    if (r != HAL_OK) { __HAL_UART_CLEAR_OREFLAG(&huart2); return; }
    if (dato == '\r' || dato == '\n' || dato == ' ' || dato == '\t') return;
    if (midiendo) { Imprimir("Medicion en curso; espera el resultado.\r\n"); return; }
    switch (dato) {
    case 'C': case 'c': DiagnosticarEnlace(); break;
    case 'H': case 'h': N1_Enviar("@READY\n"); break;
    case 'T': case 't': SD_Probar(); break;
    case 'V': case 'v': SD_Verificar(); break;
    case 'D': case 'd': (void)DiagnosticarSensor(); break;
    case 'S': case 's': EscanearBus(); break;
    default:
        Imprimir("C=enlace H=READY T=SD sin escribir V=prueba escritura SD D=sensor S=I2C.\r\n");
        Imprimir("L y G se solicitan desde Nucleo 1, no desde Hercules local.\r\n");
        break;
    }
}

/* USER CODE END 0 */

int main(void)
{

  /* MCU Configuration--------------------------------------------------------*/

  /* Reset of all peripherals, Initializes the Flash interface and the Systick. */
  HAL_Init();

  /* Configure the system clock */
  SystemClock_Config();

  /* Initialize all configured peripherals */
  MX_GPIO_Init();
  MX_I2C1_Init();
  MX_USART2_UART_Init();
  MX_SPI1_Init();
  MX_FATFS_Init();
  MX_USART3_UART_Init();
  /* USER CODE BEGIN 2 */

  Imprimir("\r\nN2: INICIO DEL PROGRAMA\r\n");

  if (HAL_UART_Receive_IT(&huart3, &n1Byte, 1) != HAL_OK)
  {
      Imprimir("ERROR INICIANDO UART3\r\n");
      Error_Handler();
  }

  Imprimir("N2: UART3 LISTO\r\n");
  N1_Enviar("@READY\n");

  Imprimir("N2: INICIANDO PANTALLA\r\n");
  LCD_Init();

  if (!LCD_IsReady())
      Imprimir("ERROR SPI PANTALLA\r\n");

  PantallaInicio();

  Imprimir("N2: PANTALLA TERMINADA\r\n");
  DiagnosticarEnlace();
  (void)DiagnosticarSensor();

  Imprimir("N2: SISTEMA LISTO\r\n");
  Imprimir("T=prueba SD, V=verificar SD, D=sensor, S=I2C\r\n");

  /* USER CODE END 2 */

  /* Infinite loop */
    while (1)
    {

    /* USER CODE BEGIN 3 */
        N1_Tarea();
        TareaSensor();
        RecibirHercules();
    }
  /* USER CODE END 3 */
}

void SystemClock_Config(void)
{
  RCC_OscInitTypeDef RCC_OscInitStruct = {0};
  RCC_ClkInitTypeDef RCC_ClkInitStruct = {0};

  /** Configure the main internal regulator output voltage
  */
  __HAL_RCC_PWR_CLK_ENABLE();
  __HAL_PWR_VOLTAGESCALING_CONFIG(PWR_REGULATOR_VOLTAGE_SCALE3);

  /** Initializes the RCC Oscillators according to the specified parameters
  * in the RCC_OscInitTypeDef structure.
  */
  RCC_OscInitStruct.OscillatorType = RCC_OSCILLATORTYPE_HSI;
  RCC_OscInitStruct.HSIState = RCC_HSI_ON;
  RCC_OscInitStruct.HSICalibrationValue = RCC_HSICALIBRATION_DEFAULT;
  RCC_OscInitStruct.PLL.PLLState = RCC_PLL_ON;
  RCC_OscInitStruct.PLL.PLLSource = RCC_PLLSOURCE_HSI;
  RCC_OscInitStruct.PLL.PLLM = 16;
  RCC_OscInitStruct.PLL.PLLN = 320;
  RCC_OscInitStruct.PLL.PLLP = RCC_PLLP_DIV4;
  RCC_OscInitStruct.PLL.PLLQ = 2;
  RCC_OscInitStruct.PLL.PLLR = 2;
  if (HAL_RCC_OscConfig(&RCC_OscInitStruct) != HAL_OK)
  {
    Error_Handler();
  }

  /** Initializes the CPU, AHB and APB buses clocks
  */
  RCC_ClkInitStruct.ClockType = RCC_CLOCKTYPE_HCLK|RCC_CLOCKTYPE_SYSCLK
                              |RCC_CLOCKTYPE_PCLK1|RCC_CLOCKTYPE_PCLK2;
  RCC_ClkInitStruct.SYSCLKSource = RCC_SYSCLKSOURCE_PLLCLK;
  RCC_ClkInitStruct.AHBCLKDivider = RCC_SYSCLK_DIV1;
  RCC_ClkInitStruct.APB1CLKDivider = RCC_HCLK_DIV2;
  RCC_ClkInitStruct.APB2CLKDivider = RCC_HCLK_DIV1;

  if (HAL_RCC_ClockConfig(&RCC_ClkInitStruct, FLASH_LATENCY_2) != HAL_OK)
  {
    Error_Handler();
  }
}

static void MX_I2C1_Init(void)
{

  /* USER CODE BEGIN I2C1_Init 1 */

    __HAL_RCC_I2C1_CLK_ENABLE();

  /* USER CODE END I2C1_Init 1 */
  hi2c1.Instance = I2C1;
  hi2c1.Init.ClockSpeed = 100000;
  hi2c1.Init.DutyCycle = I2C_DUTYCYCLE_2;
  hi2c1.Init.OwnAddress1 = 0;
  hi2c1.Init.AddressingMode = I2C_ADDRESSINGMODE_7BIT;
  hi2c1.Init.DualAddressMode = I2C_DUALADDRESS_DISABLE;
  hi2c1.Init.OwnAddress2 = 0;
  hi2c1.Init.GeneralCallMode = I2C_GENERALCALL_DISABLE;
  hi2c1.Init.NoStretchMode = I2C_NOSTRETCH_DISABLE;
  if (HAL_I2C_Init(&hi2c1) != HAL_OK)
  {
    Error_Handler();
  }

}

static void MX_SPI1_Init(void)
{

  /* USER CODE BEGIN SPI1_Init 1 */

    __HAL_RCC_SPI1_CLK_ENABLE();

  /* USER CODE END SPI1_Init 1 */
  /* SPI1 parameter configuration*/
  hspi1.Instance = SPI1;
  hspi1.Init.Mode = SPI_MODE_MASTER;
  hspi1.Init.Direction = SPI_DIRECTION_2LINES;
  hspi1.Init.DataSize = SPI_DATASIZE_8BIT;
  hspi1.Init.CLKPolarity = SPI_POLARITY_LOW;
  hspi1.Init.CLKPhase = SPI_PHASE_1EDGE;
  hspi1.Init.NSS = SPI_NSS_SOFT;
  hspi1.Init.BaudRatePrescaler = SPI_BAUDRATEPRESCALER_8;
  hspi1.Init.FirstBit = SPI_FIRSTBIT_MSB;
  hspi1.Init.TIMode = SPI_TIMODE_DISABLE;
  hspi1.Init.CRCCalculation = SPI_CRCCALCULATION_DISABLE;
  hspi1.Init.CRCPolynomial = 10;
  if (HAL_SPI_Init(&hspi1) != HAL_OK)
  {
    Error_Handler();
  }

}

static void MX_USART2_UART_Init(void)
{

  /* USER CODE BEGIN USART2_Init 1 */

    __HAL_RCC_USART2_CLK_ENABLE();

  /* USER CODE END USART2_Init 1 */
  huart2.Instance = USART2;
  huart2.Init.BaudRate = 115200;
  huart2.Init.WordLength = UART_WORDLENGTH_8B;
  huart2.Init.StopBits = UART_STOPBITS_1;
  huart2.Init.Parity = UART_PARITY_NONE;
  huart2.Init.Mode = UART_MODE_TX_RX;
  huart2.Init.HwFlowCtl = UART_HWCONTROL_NONE;
  huart2.Init.OverSampling = UART_OVERSAMPLING_16;
  if (HAL_UART_Init(&huart2) != HAL_OK)
  {
    Error_Handler();
  }

}

static void MX_USART3_UART_Init(void)
{

  /* USER CODE BEGIN USART3_Init 1 */

    __HAL_RCC_USART3_CLK_ENABLE();

  /* USER CODE END USART3_Init 1 */
  huart3.Instance = USART3;
  huart3.Init.BaudRate = 115200;
  huart3.Init.WordLength = UART_WORDLENGTH_8B;
  huart3.Init.StopBits = UART_STOPBITS_1;
  huart3.Init.Parity = UART_PARITY_NONE;
  huart3.Init.Mode = UART_MODE_TX_RX;
  huart3.Init.HwFlowCtl = UART_HWCONTROL_NONE;
  huart3.Init.OverSampling = UART_OVERSAMPLING_16;
  if (HAL_UART_Init(&huart3) != HAL_OK)
  {
    Error_Handler();
  }

}

static void MX_GPIO_Init(void)
{
  GPIO_InitTypeDef GPIO_InitStruct = {0};

  /* GPIO Ports Clock Enable */
  __HAL_RCC_GPIOC_CLK_ENABLE();
  __HAL_RCC_GPIOH_CLK_ENABLE();
  __HAL_RCC_GPIOA_CLK_ENABLE();
  __HAL_RCC_GPIOB_CLK_ENABLE();

  /*Configure GPIO pin Output Level */
  HAL_GPIO_WritePin(DC_GPIO_Port, DC_Pin, GPIO_PIN_RESET);

  /*Configure GPIO pin Output Level */
  HAL_GPIO_WritePin(RESET_GPIO_Port, RESET_Pin, GPIO_PIN_RESET);

  /*Configure GPIO pin Output Level */
  HAL_GPIO_WritePin(GPIOB, SDCS_Pin|CS_Pin, GPIO_PIN_SET);

  /*Configure GPIO pin : DC_Pin */
  GPIO_InitStruct.Pin = DC_Pin;
  GPIO_InitStruct.Mode = GPIO_MODE_OUTPUT_PP;
  GPIO_InitStruct.Pull = GPIO_NOPULL;
  GPIO_InitStruct.Speed = GPIO_SPEED_FREQ_LOW;
  HAL_GPIO_Init(DC_GPIO_Port, &GPIO_InitStruct);

  /*Configure GPIO pin : RESET_Pin */
  GPIO_InitStruct.Pin = RESET_Pin;
  GPIO_InitStruct.Mode = GPIO_MODE_OUTPUT_PP;
  GPIO_InitStruct.Pull = GPIO_NOPULL;
  GPIO_InitStruct.Speed = GPIO_SPEED_FREQ_LOW;
  HAL_GPIO_Init(RESET_GPIO_Port, &GPIO_InitStruct);

  /*Configure GPIO pins : SDCS_Pin CS_Pin */
  GPIO_InitStruct.Pin = SDCS_Pin|CS_Pin;
  GPIO_InitStruct.Mode = GPIO_MODE_OUTPUT_PP;
  GPIO_InitStruct.Pull = GPIO_NOPULL;
  GPIO_InitStruct.Speed = GPIO_SPEED_FREQ_LOW;
  HAL_GPIO_Init(GPIOB, &GPIO_InitStruct);

  /* USER CODE BEGIN MX_GPIO_Init_2 */

  /* Configurar PB0 como Chip Select de la microSD */
  GPIO_InitStruct.Pin = GPIO_PIN_0;
  GPIO_InitStruct.Mode = GPIO_MODE_OUTPUT_PP;
  GPIO_InitStruct.Pull = GPIO_NOPULL;
  GPIO_InitStruct.Speed = GPIO_SPEED_FREQ_LOW;

  HAL_GPIO_Init(GPIOB, &GPIO_InitStruct);

  /* Mantener la microSD deseleccionada al iniciar */
  HAL_GPIO_WritePin(GPIOB, GPIO_PIN_0, GPIO_PIN_SET);

  /* USER CODE END MX_GPIO_Init_2 */
}

/* USER CODE BEGIN 4 */

void HAL_UART_RxCpltCallback(UART_HandleTypeDef *huart)
{
    if (huart != &huart3) return;
    n1BytesRX++;
    uint8_t siguiente = (uint8_t)((n1Entrada + 1u) % N1_RX_TAM);
    if (siguiente == n1Salida)
        n1Error = 1;
    else {
        n1Cola[n1Entrada] = n1Byte;
        n1Entrada = siguiente;
    }
    if (HAL_UART_Receive_IT(&huart3, &n1Byte, 1) != HAL_OK)
        n1Error = 1;
}

void HAL_UART_ErrorCallback(UART_HandleTypeDef *huart)
{
    if (huart == &huart3) n1Error = 1;
}

/* USER CODE END 4 */

void Error_Handler(void)
{
    __disable_irq();
    while (1)
    {
    }
}
#ifdef USE_FULL_ASSERT
/**
  * @brief  Reports the name of the source file and the source line number
  *         where the assert_param error has occurred.
  * @param  file: pointer to the source file name
  * @param  line: assert_param error line source number
  * @retval None
  */
void assert_failed(uint8_t *file, uint32_t line)
{
  /* USER CODE BEGIN 6 */

    (void)file;
    (void)line;

  /* USER CODE END 6 */
}
#endif /* USE_FULL_ASSERT */
